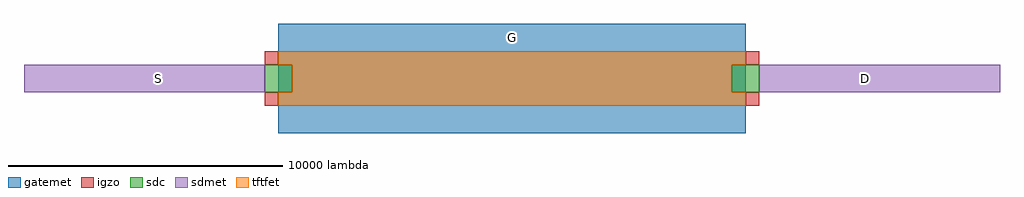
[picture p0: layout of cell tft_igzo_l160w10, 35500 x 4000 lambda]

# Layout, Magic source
magic
tech igzo_mmm_lab
<< igzo >>
rect -9000 500 -8500 1000
rect 8500 500 9000 1000
rect -9000 -1000 -8500 -500
rect 8500 -1000 9000 -500
<< tftfet >>
rect -8500 500 8500 1000
rect -8000 -500 8000 500
rect -8500 -1000 8500 -500
<< sdc >>
rect -9000 -500 -8000 500
rect 8000 -500 9000 500
<< sdmet >>
rect -17750 -500 -9000 500
rect 9000 -500 17750 500
<< gatemet >>
rect -8500 -2000 8500 2000
<< labels >>
rlabel sdmet s -12925 -50 -12825 50 4 S
port 3 nsew
rlabel sdmet s 12825 -50 12925 50 4 D
port 5 nsew
rlabel gatemet s -50 1450 50 1550 4 G
port 7 nsew
<< end >>
